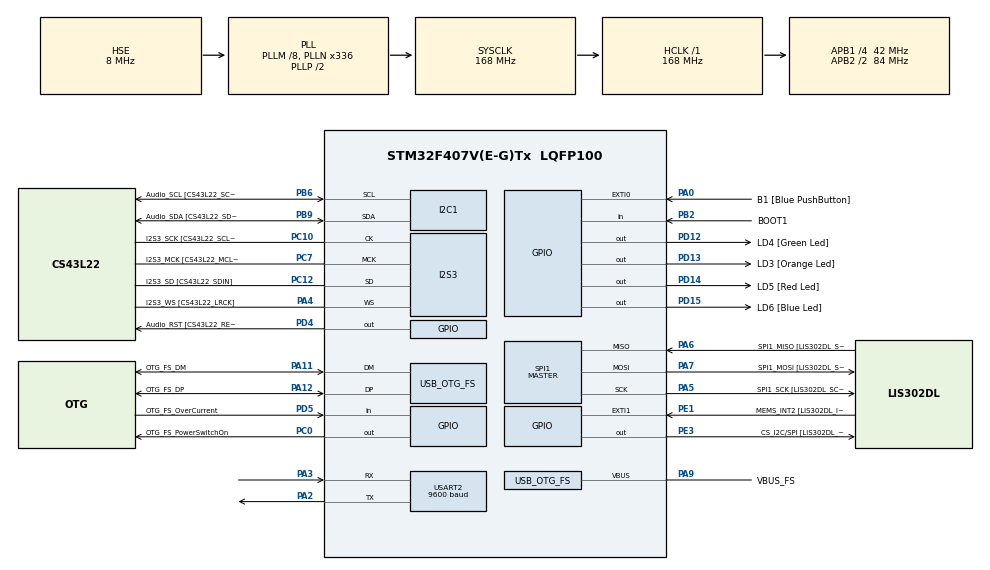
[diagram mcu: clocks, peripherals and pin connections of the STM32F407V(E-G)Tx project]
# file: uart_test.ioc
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I2S3.AudioFreq-Half_Duplex_Master=I2S_AUDIOFREQ_96K
I2S3.ErrorAudioFreq=-2.34 %
I2S3.ErrorAudioFreq-Half_Duplex_Master=0.8 %
I2S3.FullDuplexMode=I2S_FULLDUPLEXMODE_DISABLE
I2S3.Instance=SPI$Index
I2S3.RealAudioFreq=93.75 KHz
I2S3.RealAudioFreq-Half_Duplex_Master=96.774 KHz
I2S3.VirtualMode=I2S_MODE_MASTER
Mcu.Family=STM32F4
Mcu.Name=STM32F407V(E-G)Tx
Mcu.Package=LQFP100
NVIC.OTG_FS_IRQn=true\:0\:0\:false\:false\:true\:true\:true\:true
NVIC.PriorityGroup=NVIC_PRIORITYGROUP_0
NVIC.USART2_IRQn=true\:0\:0\:false\:false\:true\:true\:true\:true
PA0-WKUP.GPIO_Label=B1 [Blue PushButton]
PA0-WKUP.GPIO_ModeDefaultEXTI=GPIO_MODE_EVT_RISING
PA0-WKUP.GPIO_PuPd=GPIO_NOPULL
PA0-WKUP.Signal=GPXTI0
PA10.GPIO_Label=OTG_FS_ID
PA10.GPIO_Mode=GPIO_MODE_AF_PP
PA10.GPIO_PuPd=GPIO_NOPULL
PA10.GPIO_Speed=GPIO_SPEED_FREQ_LOW
PA10.Signal=USB_OTG_FS_ID
PA11.GPIO_Label=OTG_FS_DM
PA11.GPIO_Mode=GPIO_MODE_AF_PP
PA11.GPIO_PuPd=GPIO_NOPULL
PA11.GPIO_Speed=GPIO_SPEED_FREQ_LOW
PA11.Mode=Host_Only
PA11.Signal=USB_OTG_FS_DM
PA12.GPIO_Label=OTG_FS_DP
PA12.GPIO_Mode=GPIO_MODE_AF_PP
PA12.GPIO_PuPd=GPIO_NOPULL
PA12.GPIO_Speed=GPIO_SPEED_FREQ_LOW
PA12.Mode=Host_Only
PA12.Signal=USB_OTG_FS_DP
PA13.GPIO_Label=SWDIO
PA13.Mode=Serial_Wire
PA13.Signal=SYS_JTMS-SWDIO
PA14.GPIO_Label=SWCLK
PA14.Mode=Serial_Wire
PA14.Signal=SYS_JTCK-SWCLK
PA2.Mode=Asynchronous
PA2.Signal=USART2_TX
PA3.Mode=Asynchronous
PA3.Signal=USART2_RX
PA4.GPIO_Label=I2S3_WS [CS43L22_LRCK]
PA4.GPIO_Mode=GPIO_MODE_AF_PP
PA4.GPIO_PuPd=GPIO_NOPULL
PA4.GPIO_Speed=GPIO_SPEED_FREQ_LOW
PA4.Mode=Half_Duplex_Master
PA4.Signal=I2S3_WS
PA5.GPIO_Label=SPI1_SCK [LIS302DL_SCL/SPC]
PA5.GPIO_Mode=GPIO_MODE_AF_PP
PA5.GPIO_PuPd=GPIO_NOPULL
PA5.GPIO_Speed=GPIO_SPEED_FREQ_LOW
PA5.Mode=Full_Duplex_Master
PA5.Signal=SPI1_SCK
PA6.GPIO_Label=SPI1_MISO [LIS302DL_SDO]
PA6.GPIO_Mode=GPIO_MODE_AF_PP
PA6.GPIO_PuPd=GPIO_NOPULL
PA6.GPIO_Speed=GPIO_SPEED_FREQ_LOW
PA6.Mode=Full_Duplex_Master
PA6.Signal=SPI1_MISO
PA7.GPIO_Label=SPI1_MOSI [LIS302DL_SDA/SDI/SDO]
PA7.GPIO_Mode=GPIO_MODE_AF_PP
PA7.GPIO_PuPd=GPIO_NOPULL
PA7.GPIO_Speed=GPIO_SPEED_FREQ_LOW
PA7.Mode=Full_Duplex_Master
PA7.Signal=SPI1_MOSI
PA9.GPIO_Label=VBUS_FS
PA9.GPIO_Mode=GPIO_MODE_INPUT
PA9.GPIO_PuPd=GPIO_NOPULL
PA9.Mode=Activate_VBUS
PA9.Signal=USB_OTG_FS_VBUS
PB10.GPIO_Label=CLK_IN [MP45DT02_CLK]
PB10.GPIO_Mode=GPIO_MODE_AF_PP
PB10.GPIO_PuPd=GPIO_NOPULL
PB10.GPIO_Speed=GPIO_SPEED_FREQ_LOW
PB10.Signal=I2S2_CK
PB2.GPIO_Label=BOOT1
PB2.GPIO_Mode=GPIO_MODE_INPUT
PB2.GPIO_PuPd=GPIO_NOPULL
PB2.Signal=GPIO_Input
PB3.GPIO_Label=SWO
PB3.Signal=SYS_JTDO-SWO
PB6.GPIO_Label=Audio_SCL [CS43L22_SCL]
PB6.GPIO_Mode=GPIO_MODE_AF_OD
PB6.GPIO_Pu=GPIO_PULLUP
PB6.GPIO_PuPd=GPIO_NOPULL
PB6.GPIO_Speed=GPIO_SPEED_FREQ_LOW
PB6.Mode=I2C
PB6.Signal=I2C1_SCL
PB9.GPIO_Label=Audio_SDA [CS43L22_SDA]
PB9.GPIO_Mode=GPIO_MODE_AF_OD
PB9.GPIO_Pu=GPIO_PULLUP
PB9.GPIO_PuPd=GPIO_NOPULL
PB9.GPIO_Speed=GPIO_SPEED_FREQ_LOW
PB9.Mode=I2C
PB9.Signal=I2C1_SDA
PC0.GPIO_Label=OTG_FS_PowerSwitchOn
PC0.GPIO_PuPd=GPIO_NOPULL
PC0.GPIO_Speed=GPIO_SPEED_FREQ_LOW
PC0.PinState=GPIO_PIN_SET
PC0.Signal=GPIO_Output
PC10.GPIO_Label=I2S3_SCK [CS43L22_SCLK]
PC10.GPIO_Mode=GPIO_MODE_AF_PP
PC10.GPIO_PuPd=GPIO_NOPULL
PC10.GPIO_Speed=GPIO_SPEED_FREQ_LOW
PC10.Mode=Half_Duplex_Master
PC10.Signal=I2S3_CK
PC12.GPIO_Label=I2S3_SD [CS43L22_SDIN]
PC12.GPIO_Mode=GPIO_MODE_AF_PP
PC12.GPIO_PuPd=GPIO_NOPULL
PC12.GPIO_Speed=GPIO_SPEED_FREQ_LOW
PC12.Mode=Half_Duplex_Master
PC12.Signal=I2S3_SD
PC14-OSC32_IN.GPIO_Label=PC14-OSC32_IN
PC14-OSC32_IN.Mode=LSE-External-Oscillator
PC14-OSC32_IN.Signal=RCC_OSC32_IN
PC15-OSC32_OUT.GPIO_Label=PC15-OSC32_OUT
PC15-OSC32_OUT.Mode=LSE-External-Oscillator
PC15-OSC32_OUT.Signal=RCC_OSC32_OUT
PC3.GPIO_Label=PDM_OUT [MP45DT02_DOUT]
PC3.GPIO_Mode=GPIO_MODE_AF_PP
PC3.GPIO_PuPd=GPIO_NOPULL
PC3.GPIO_Speed=GPIO_SPEED_FREQ_LOW
PC3.Signal=I2S2_SD
PC7.GPIO_Label=I2S3_MCK [CS43L22_MCLK]
PC7.GPIO_Mode=GPIO_MODE_AF_PP
PC7.GPIO_PuPd=GPIO_NOPULL
PC7.GPIO_Speed=GPIO_SPEED_FREQ_LOW
PC7.Mode=Master_Clock_Activated
PC7.Signal=I2S3_MCK
PD12.GPIO_Label=LD4 [Green Led]
PD12.GPIO_PuPd=GPIO_NOPULL
PD12.GPIO_Speed=GPIO_SPEED_FREQ_LOW
PD12.Signal=GPIO_Output
PD13.GPIO_Label=LD3 [Orange Led]
PD13.GPIO_PuPd=GPIO_NOPULL
PD13.GPIO_Speed=GPIO_SPEED_FREQ_LOW
PD13.Signal=GPIO_Output
PD14.GPIO_Label=LD5 [Red Led]
PD14.GPIO_PuPd=GPIO_NOPULL
PD14.GPIO_Speed=GPIO_SPEED_FREQ_LOW
PD14.Signal=GPIO_Output
PD15.GPIO_Label=LD6 [Blue Led]
PD15.GPIO_PuPd=GPIO_NOPULL
PD15.GPIO_Speed=GPIO_SPEED_FREQ_LOW
PD15.Signal=GPIO_Output
PD4.GPIO_Label=Audio_RST [CS43L22_RESET]
PD4.GPIO_PuPd=GPIO_NOPULL
PD4.GPIO_Speed=GPIO_SPEED_FREQ_LOW
PD4.Signal=GPIO_Output
PD5.GPIO_Label=OTG_FS_OverCurrent
PD5.GPIO_Mode=GPIO_MODE_INPUT
PD5.GPIO_PuPd=GPIO_NOPULL
PD5.Signal=GPIO_Input
PE1.GPIO_Label=MEMS_INT2 [LIS302DL_INT2]
PE1.GPIO_ModeDefaultEXTI=GPIO_MODE_EVT_RISING
PE1.GPIO_PuPd=GPIO_NOPULL
PE1.Signal=GPXTI1
PE3.GPIO_Label=CS_I2C/SPI [LIS302DL_CS_I2C/SPI]
PE3.GPIO_PuPd=GPIO_NOPULL
PE3.GPIO_Speed=GPIO_SPEED_FREQ_LOW
PE3.Signal=GPIO_Output
PH0-OSC_IN.GPIO_Label=PH0-OSC_IN
PH0-OSC_IN.Mode=HSE-External-Oscillator
PH0-OSC_IN.Signal=RCC_OSC_IN
PH1-OSC_OUT.GPIO_Label=PH1-OSC_OUT
PH1-OSC_OUT.Mode=HSE-External-Oscillator
PH1-OSC_OUT.Signal=RCC_OSC_OUT
ProjectManager.HeapSize=0x200
ProjectManager.StackSize=0x400
ProjectManager.TargetToolchain=STM32CubeIDE
RCC.48MHZClocksFreq_Value=48000000
RCC.AHBFreq_Value=168000000
RCC.APB1CLKDivider=RCC_HCLK_DIV4
RCC.APB1Freq_Value=42000000
RCC.APB1TimFreq_Value=84000000
RCC.APB2CLKDivider=RCC_HCLK_DIV2
RCC.APB2Freq_Value=84000000
RCC.APB2TimFreq_Value=168000000
RCC.CortexFreq_Value=168000000
RCC.HCLKFreq_Value=168000000
RCC.HSE_VALUE=8000000
RCC.HSI_VALUE=16000000
RCC.PLLM=8
RCC.PLLN=336
RCC.PLLQ=7
RCC.SYSCLKFreq_VALUE=168000000
RCC.SYSCLKSource=RCC_SYSCLKSOURCE_PLLCLK
RCC.VCOOutputFreq_Value=336000000
SPI1.BaudRatePrescaler-Full_Duplex_Master=SPI_BAUDRATEPRESCALER_2
SPI1.CalculateBaudRate-Full_Duplex_Master=42.0 MBits/s
SPI1.Direction=SPI_DIRECTION_2LINES
SPI1.Mode=SPI_MODE_MASTER
SPI1.Mode-Full_Duplex_Master=SPI_MODE_MASTER
SPI1.VirtualType=VM_MASTER
USART2.BaudRate=9600
USART2.Parity=PARITY_NONE
USART2.VirtualMode=VM_ASYNC
USART2.WordLength=WORDLENGTH_8B
USB_HOST.BSP.number=1
USB_HOST.USBH_HandleTypeDef-CDC_FS=hUsbHostFS
USB_HOST.VirtualModeFS=Cdc
USB_HOST0.BSP.STBoard=false
USB_HOST0.BSP.api=Unknown
USB_HOST0.BSP.i2caddr=0
USB_HOST0.BSP.i2creg=0
USB_HOST0.BSP.instance=PC0
USB_HOST0.BSP.ip=GPIO
USB_HOST0.BSP.mode=Output
USB_HOST0.BSP.name=Drive_VBUS_FS
USB_HOST0.BSP.solution=PC0
USB_OTG_FS.VirtualMode=Host_Only
USB_OTG_FS.phy_itface=HCD_PHY_EMBEDDED
VP_USB_HOST_VS_USB_HOST_CDC_FS.Mode=CDC_FS
board=STM32F407G-DISC1

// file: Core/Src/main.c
/* USER CODE BEGIN Header */
/**
  ******************************************************************************
  * @file           : main.c
  * @brief          : Main program body
  ******************************************************************************
  * @attention
  *
  * Copyright (c) 2022 STMicroelectronics.
  * All rights reserved.
  *
  * This software is licensed under terms that can be found in the LICENSE file
  * in the root directory of this software component.
  * If no LICENSE file comes with this software, it is provided AS-IS.
  *
  ******************************************************************************
  */
/* USER CODE END Header */
#include "main.h"
#include "usb_host.h"
#include "stdio.h"
#include "string.h"

 I2C_HandleTypeDef hi2c1;

I2S_HandleTypeDef hi2s3;

SPI_HandleTypeDef hspi1;

UART_HandleTypeDef huart2;

void SystemClock_Config(void);
static void MX_GPIO_Init(void);
static void MX_I2C1_Init(void);
static void MX_I2S3_Init(void);
static void MX_SPI1_Init(void);
static void MX_USART2_UART_Init(void);
void MX_USB_HOST_Process(void);

/* USER CODE BEGIN 0 */
uint8_t tx_Data[10];
uint8_t rx_Data[10];
/* USER CODE END 0 */

int main(void)
{

  /* MCU Configuration--------------------------------------------------------*/

  /* Reset of all peripherals, Initializes the Flash interface and the Systick. */
  HAL_Init();

  /* Configure the system clock */
  SystemClock_Config();

  /* Initialize all configured peripherals */
  MX_GPIO_Init();
  MX_I2C1_Init();
  MX_I2S3_Init();
  MX_SPI1_Init();
  MX_USB_HOST_Init();
  MX_USART2_UART_Init();
  /* USER CODE BEGIN 2 */
  for(int i = 0; i < 10; i++){
	  rx_Data[i] = 0;
	  tx_Data[i] = 0;
  }

  tx_Data[0] = 255;
  tx_Data[9] = 254;

  HAL_UART_Receive_IT(&huart2, rx_Data, 10);
  /* USER CODE END 2 */

  /* Infinite loop */
  while (1)
  {
    MX_USB_HOST_Process();
    /* USER CODE BEGIN 3 */

    /* USER CODE BEGIN 3 */
  }
  /* USER CODE END 3 */
}

void SystemClock_Config(void)
{
  RCC_OscInitTypeDef RCC_OscInitStruct = {0};
  RCC_ClkInitTypeDef RCC_ClkInitStruct = {0};

  /** Configure the main internal regulator output voltage
  */
  __HAL_RCC_PWR_CLK_ENABLE();
  __HAL_PWR_VOLTAGESCALING_CONFIG(PWR_REGULATOR_VOLTAGE_SCALE1);

  /** Initializes the RCC Oscillators according to the specified parameters
  * in the RCC_OscInitTypeDef structure.
  */
  RCC_OscInitStruct.OscillatorType = RCC_OSCILLATORTYPE_HSE;
  RCC_OscInitStruct.HSEState = RCC_HSE_ON;
  RCC_OscInitStruct.PLL.PLLState = RCC_PLL_ON;
  RCC_OscInitStruct.PLL.PLLSource = RCC_PLLSOURCE_HSE;
  RCC_OscInitStruct.PLL.PLLM = 8;
  RCC_OscInitStruct.PLL.PLLN = 336;
  RCC_OscInitStruct.PLL.PLLP = RCC_PLLP_DIV2;
  RCC_OscInitStruct.PLL.PLLQ = 7;
  if (HAL_RCC_OscConfig(&RCC_OscInitStruct) != HAL_OK)
  {
    Error_Handler();
  }

  /** Initializes the CPU, AHB and APB buses clocks
  */
  RCC_ClkInitStruct.ClockType = RCC_CLOCKTYPE_HCLK|RCC_CLOCKTYPE_SYSCLK
                              |RCC_CLOCKTYPE_PCLK1|RCC_CLOCKTYPE_PCLK2;
  RCC_ClkInitStruct.SYSCLKSource = RCC_SYSCLKSOURCE_PLLCLK;
  RCC_ClkInitStruct.AHBCLKDivider = RCC_SYSCLK_DIV1;
  RCC_ClkInitStruct.APB1CLKDivider = RCC_HCLK_DIV4;
  RCC_ClkInitStruct.APB2CLKDivider = RCC_HCLK_DIV2;

  if (HAL_RCC_ClockConfig(&RCC_ClkInitStruct, FLASH_LATENCY_5) != HAL_OK)
  {
    Error_Handler();
  }
}

static void MX_I2C1_Init(void)
{

  hi2c1.Instance = I2C1;
  hi2c1.Init.ClockSpeed = 100000;
  hi2c1.Init.DutyCycle = I2C_DUTYCYCLE_2;
  hi2c1.Init.OwnAddress1 = 0;
  hi2c1.Init.AddressingMode = I2C_ADDRESSINGMODE_7BIT;
  hi2c1.Init.DualAddressMode = I2C_DUALADDRESS_DISABLE;
  hi2c1.Init.OwnAddress2 = 0;
  hi2c1.Init.GeneralCallMode = I2C_GENERALCALL_DISABLE;
  hi2c1.Init.NoStretchMode = I2C_NOSTRETCH_DISABLE;
  if (HAL_I2C_Init(&hi2c1) != HAL_OK)
  {
    Error_Handler();
  }

}

static void MX_I2S3_Init(void)
{

  hi2s3.Instance = SPI3;
  hi2s3.Init.Mode = I2S_MODE_MASTER_TX;
  hi2s3.Init.Standard = I2S_STANDARD_PHILIPS;
  hi2s3.Init.DataFormat = I2S_DATAFORMAT_16B;
  hi2s3.Init.MCLKOutput = I2S_MCLKOUTPUT_ENABLE;
  hi2s3.Init.AudioFreq = I2S_AUDIOFREQ_96K;
  hi2s3.Init.CPOL = I2S_CPOL_LOW;
  hi2s3.Init.ClockSource = I2S_CLOCK_PLL;
  hi2s3.Init.FullDuplexMode = I2S_FULLDUPLEXMODE_DISABLE;
  if (HAL_I2S_Init(&hi2s3) != HAL_OK)
  {
    Error_Handler();
  }

}

static void MX_SPI1_Init(void)
{

  /* SPI1 parameter configuration*/
  hspi1.Instance = SPI1;
  hspi1.Init.Mode = SPI_MODE_MASTER;
  hspi1.Init.Direction = SPI_DIRECTION_2LINES;
  hspi1.Init.DataSize = SPI_DATASIZE_8BIT;
  hspi1.Init.CLKPolarity = SPI_POLARITY_LOW;
  hspi1.Init.CLKPhase = SPI_PHASE_1EDGE;
  hspi1.Init.NSS = SPI_NSS_SOFT;
  hspi1.Init.BaudRatePrescaler = SPI_BAUDRATEPRESCALER_2;
  hspi1.Init.FirstBit = SPI_FIRSTBIT_MSB;
  hspi1.Init.TIMode = SPI_TIMODE_DISABLE;
  hspi1.Init.CRCCalculation = SPI_CRCCALCULATION_DISABLE;
  hspi1.Init.CRCPolynomial = 10;
  if (HAL_SPI_Init(&hspi1) != HAL_OK)
  {
    Error_Handler();
  }

}

static void MX_USART2_UART_Init(void)
{

  huart2.Instance = USART2;
  huart2.Init.BaudRate = 9600;
  huart2.Init.WordLength = UART_WORDLENGTH_8B;
  huart2.Init.StopBits = UART_STOPBITS_1;
  huart2.Init.Parity = UART_PARITY_NONE;
  huart2.Init.Mode = UART_MODE_TX_RX;
  huart2.Init.HwFlowCtl = UART_HWCONTROL_NONE;
  huart2.Init.OverSampling = UART_OVERSAMPLING_16;
  if (HAL_UART_Init(&huart2) != HAL_OK)
  {
    Error_Handler();
  }

}

static void MX_GPIO_Init(void)
{
  GPIO_InitTypeDef GPIO_InitStruct = {0};

  /* GPIO Ports Clock Enable */
  __HAL_RCC_GPIOE_CLK_ENABLE();
  __HAL_RCC_GPIOC_CLK_ENABLE();
  __HAL_RCC_GPIOH_CLK_ENABLE();
  __HAL_RCC_GPIOA_CLK_ENABLE();
  __HAL_RCC_GPIOB_CLK_ENABLE();
  __HAL_RCC_GPIOD_CLK_ENABLE();

  /*Configure GPIO pin Output Level */
  HAL_GPIO_WritePin(CS_I2C_SPI_GPIO_Port, CS_I2C_SPI_Pin, GPIO_PIN_RESET);

  /*Configure GPIO pin Output Level */
  HAL_GPIO_WritePin(OTG_FS_PowerSwitchOn_GPIO_Port, OTG_FS_PowerSwitchOn_Pin, GPIO_PIN_SET);

  /*Configure GPIO pin Output Level */
  HAL_GPIO_WritePin(GPIOD, LD4_Pin|LD3_Pin|LD5_Pin|LD6_Pin
                          |Audio_RST_Pin, GPIO_PIN_RESET);

  /*Configure GPIO pin : CS_I2C_SPI_Pin */
  GPIO_InitStruct.Pin = CS_I2C_SPI_Pin;
  GPIO_InitStruct.Mode = GPIO_MODE_OUTPUT_PP;
  GPIO_InitStruct.Pull = GPIO_NOPULL;
  GPIO_InitStruct.Speed = GPIO_SPEED_FREQ_LOW;
  HAL_GPIO_Init(CS_I2C_SPI_GPIO_Port, &GPIO_InitStruct);

  /*Configure GPIO pin : OTG_FS_PowerSwitchOn_Pin */
  GPIO_InitStruct.Pin = OTG_FS_PowerSwitchOn_Pin;
  GPIO_InitStruct.Mode = GPIO_MODE_OUTPUT_PP;
  GPIO_InitStruct.Pull = GPIO_NOPULL;
  GPIO_InitStruct.Speed = GPIO_SPEED_FREQ_LOW;
  HAL_GPIO_Init(OTG_FS_PowerSwitchOn_GPIO_Port, &GPIO_InitStruct);

  /*Configure GPIO pin : PDM_OUT_Pin */
  GPIO_InitStruct.Pin = PDM_OUT_Pin;
  GPIO_InitStruct.Mode = GPIO_MODE_AF_PP;
  GPIO_InitStruct.Pull = GPIO_NOPULL;
  GPIO_InitStruct.Speed = GPIO_SPEED_FREQ_LOW;
  GPIO_InitStruct.Alternate = GPIO_AF5_SPI2;
  HAL_GPIO_Init(PDM_OUT_GPIO_Port, &GPIO_InitStruct);

  /*Configure GPIO pin : B1_Pin */
  GPIO_InitStruct.Pin = B1_Pin;
  GPIO_InitStruct.Mode = GPIO_MODE_EVT_RISING;
  GPIO_InitStruct.Pull = GPIO_NOPULL;
  HAL_GPIO_Init(B1_GPIO_Port, &GPIO_InitStruct);

  /*Configure GPIO pin : BOOT1_Pin */
  GPIO_InitStruct.Pin = BOOT1_Pin;
  GPIO_InitStruct.Mode = GPIO_MODE_INPUT;
  GPIO_InitStruct.Pull = GPIO_NOPULL;
  HAL_GPIO_Init(BOOT1_GPIO_Port, &GPIO_InitStruct);

  /*Configure GPIO pin : CLK_IN_Pin */
  GPIO_InitStruct.Pin = CLK_IN_Pin;
  GPIO_InitStruct.Mode = GPIO_MODE_AF_PP;
  GPIO_InitStruct.Pull = GPIO_NOPULL;
  GPIO_InitStruct.Speed = GPIO_SPEED_FREQ_LOW;
  GPIO_InitStruct.Alternate = GPIO_AF5_SPI2;
  HAL_GPIO_Init(CLK_IN_GPIO_Port, &GPIO_InitStruct);

  /*Configure GPIO pins : LD4_Pin LD3_Pin LD5_Pin LD6_Pin
                           Audio_RST_Pin */
  GPIO_InitStruct.Pin = LD4_Pin|LD3_Pin|LD5_Pin|LD6_Pin
                          |Audio_RST_Pin;
  GPIO_InitStruct.Mode = GPIO_MODE_OUTPUT_PP;
  GPIO_InitStruct.Pull = GPIO_NOPULL;
  GPIO_InitStruct.Speed = GPIO_SPEED_FREQ_LOW;
  HAL_GPIO_Init(GPIOD, &GPIO_InitStruct);

  /*Configure GPIO pin : OTG_FS_OverCurrent_Pin */
  GPIO_InitStruct.Pin = OTG_FS_OverCurrent_Pin;
  GPIO_InitStruct.Mode = GPIO_MODE_INPUT;
  GPIO_InitStruct.Pull = GPIO_NOPULL;
  HAL_GPIO_Init(OTG_FS_OverCurrent_GPIO_Port, &GPIO_InitStruct);

  /*Configure GPIO pin : MEMS_INT2_Pin */
  GPIO_InitStruct.Pin = MEMS_INT2_Pin;
  GPIO_InitStruct.Mode = GPIO_MODE_EVT_RISING;
  GPIO_InitStruct.Pull = GPIO_NOPULL;
  HAL_GPIO_Init(MEMS_INT2_GPIO_Port, &GPIO_InitStruct);

}

/* USER CODE BEGIN 4 */
void HAL_UART_RxCpltCallback(UART_HandleTypeDef *huart){
	if(huart->Instance == USART2){

		tx_Data[1] = 1;
		tx_Data[2] = 30;

		HAL_UART_Transmit(&huart2, tx_Data, 10, 0xffff);

		tx_Data[1] = 10;
		tx_Data[2] = 0;
		tx_Data[3] = 10;

		HAL_UART_Transmit(&huart2, tx_Data, 10, 0xffff);

		for(int i = 0; i < 10; i++){
			rx_Data[i] = 0;
		}

		HAL_UART_Receive_IT(&huart2, rx_Data, 10);
	}

	return;
}
/* USER CODE END 4 */

void Error_Handler(void)
{
  __disable_irq();
  while (1)
  {
  }
}
